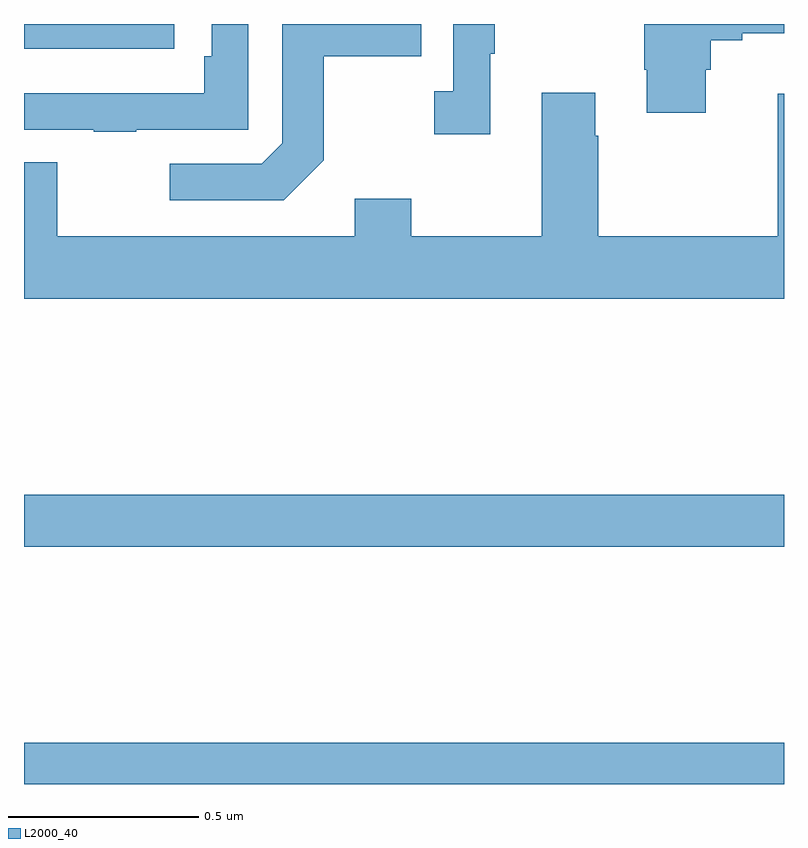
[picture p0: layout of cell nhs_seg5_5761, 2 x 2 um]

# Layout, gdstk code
import gdstk
lib = gdstk.Library(unit=1e-6, precision=1e-09)
def R(c, l, rs):  # rectangles x0, y0, x1, y1
    for r in rs: c.add(gdstk.rectangle(r[:2], r[2:], *l))
def P(c, l, *ps):  # polygons
    for p in ps: c.add(gdstk.Polygon(p, *l))
L2000_40 = (2000, 40)

nhs_seg5_5761 = lib.new_cell('nhs_seg5_5761')
R(nhs_seg5_5761, L2000_40, [(187,872.799,189,872.908), (187,873.424,189,873.56), (187,874.734,187.396,874.799)])
P(nhs_seg5_5761, L2000_40, [(187.789,874.441),(187.789,874.714),(188.045,874.714),(188.045,874.799),(187.68,874.799),(187.68,874.485),(187.626,874.431),(187.383,874.431),(187.383,874.335),(187.683,874.335)],
  [(188.227,874.721),(188.239,874.721),(188.239,874.799),(188.13,874.799),(188.13,874.622),(188.079,874.622),(188.079,874.509),(188.227,874.509)],
  [(188.794,874.679),(188.807,874.679),(188.807,874.756),(188.89,874.756),(188.89,874.775),(189,874.775),(189,874.799),(188.632,874.799),(188.632,874.678),(188.639,874.678),(188.639,874.566),(188.794,874.566)],
  [(187.295,874.521),(187.59,874.521),(187.59,874.799),(187.494,874.799),(187.494,874.714),(187.474,874.714),(187.474,874.617),(187,874.617),(187,874.521),(187.183,874.521),(187.183,874.516),(187.295,874.516)],
  [(187,874.435),(187,874.076),(189,874.076),(189,874.615),(188.984,874.615),(188.984,874.24),(188.511,874.24),(188.511,874.505),(188.503,874.505),(188.503,874.618),(188.363,874.618),(188.363,874.24),(188.019,874.24),(188.019,874.339),(187.871,874.339),(187.871,874.24),(187.087,874.24),(187.087,874.435)])

lib.write_gds('nhs_seg5_5761.gds')
